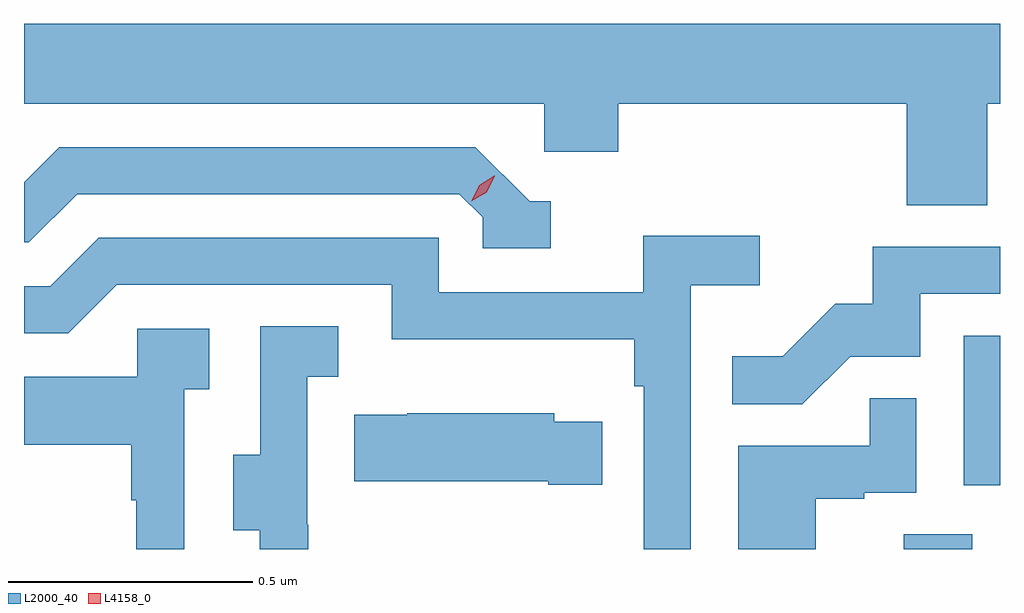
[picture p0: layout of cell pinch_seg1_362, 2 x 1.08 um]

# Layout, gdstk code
import gdstk
lib = gdstk.Library(unit=1e-6, precision=1e-09)
def R(c, l, rs):  # rectangles x0, y0, x1, y1
    for r in rs: c.add(gdstk.rectangle(r[:2], r[2:], *l))
def P(c, l, *ps):  # polygons
    for p in ps: c.add(gdstk.Polygon(p, *l))
L2000_40 = (2000, 40)
L4158_0 = (4158, 0)

pinch_seg1_362 = lib.new_cell('pinch_seg1_362')
R(pinch_seg1_362, L2000_40, [(1006.841,558.811,1006.981,558.842), (1006.964,558.942,1007.038,559.249)])
P(pinch_seg1_362, L2000_40, [(1007.012,559.724),(1007.038,559.724),(1007.038,559.888),(1005.038,559.888),(1005.038,559.724),(1006.104,559.724),(1006.104,559.626),(1006.256,559.626),(1006.256,559.724),(1006.847,559.724),(1006.847,559.516),(1007.012,559.516)],
  [(1006.117,559.524),(1006.074,559.524),(1005.963,559.635),(1005.11,559.635),(1005.038,559.563),(1005.038,559.44),(1005.048,559.44),(1005.147,559.539),(1005.93,559.539),(1005.978,559.491),(1005.978,559.428),(1006.117,559.428)],
  [(1006.404,559.352),(1006.546,559.352),(1006.546,559.454),(1006.307,559.454),(1006.307,559.338),(1005.888,559.338),(1005.888,559.449),(1005.191,559.449),(1005.092,559.35),(1005.038,559.35),(1005.038,559.254),(1005.129,559.254),(1005.228,559.353),(1005.792,559.353),(1005.792,559.241),(1006.288,559.241),(1006.288,559.145),(1006.308,559.145),(1006.308,558.811),(1006.404,558.811)],
  [(1006.731,559.206),(1006.875,559.206),(1006.875,559.335),(1007.038,559.335),(1007.038,559.431),(1006.777,559.431),(1006.777,559.314),(1006.7,559.314),(1006.593,559.207),(1006.489,559.207),(1006.489,559.108),(1006.633,559.108)],
  [(1005.62,558.861),(1005.618,558.861),(1005.618,559.165),(1005.682,559.165),(1005.682,559.268),(1005.522,559.268),(1005.522,559.005),(1005.467,559.005),(1005.467,558.85),(1005.521,558.85),(1005.521,558.811),(1005.62,558.811)],
  [(1005.366,559.139),(1005.418,559.139),(1005.418,559.263),(1005.27,559.263),(1005.27,559.165),(1005.038,559.165),(1005.038,559.025),(1005.258,559.025),(1005.258,558.911),(1005.268,558.911),(1005.268,558.811),(1005.366,558.811)],
  [(1006.66,558.915),(1006.76,558.915),(1006.76,558.927),(1006.866,558.927),(1006.866,559.121),(1006.771,559.121),(1006.771,559.023),(1006.502,559.023),(1006.502,558.811),(1006.66,558.811)],
  [(1006.223,559.072),(1006.125,559.072),(1006.125,559.09),(1005.823,559.09),(1005.823,559.087),(1005.715,559.087),(1005.715,558.95),(1006.112,558.95),(1006.112,558.943),(1006.223,558.943)])
P(pinch_seg1_362, L4158_0, [(1005.955,559.524),(1005.955,559.524),(1005.971,559.557),(1006.002,559.576),(1006.003,559.576),(1006.003,559.576),(1005.986,559.543),(1005.955,559.524)])

lib.write_gds('pinch_seg1_362.gds')
